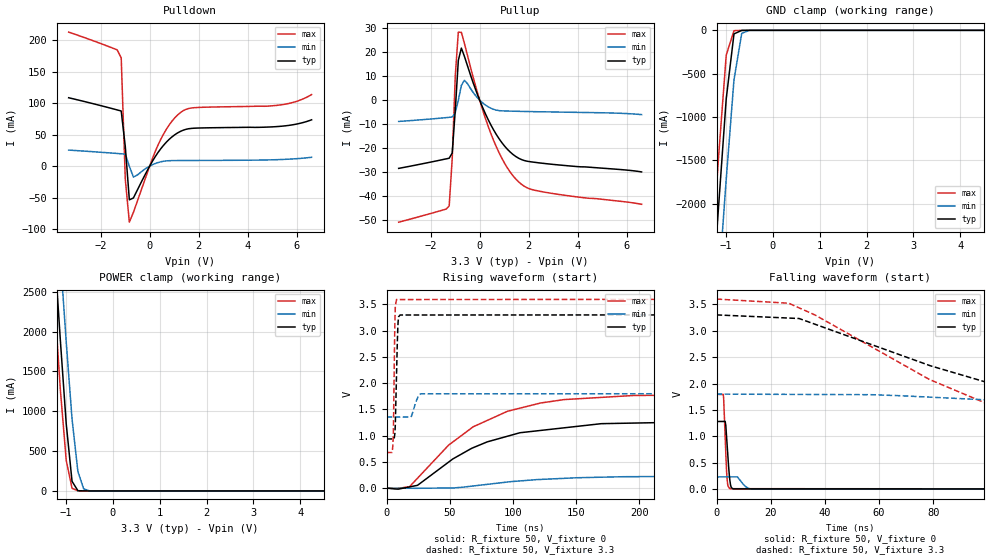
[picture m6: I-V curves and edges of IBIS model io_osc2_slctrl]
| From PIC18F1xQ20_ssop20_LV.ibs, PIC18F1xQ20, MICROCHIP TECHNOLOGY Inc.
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[Model] io_osc2_slctrl
Model_type I/O
Vinl  =  0.8
Vinh  =  2
| Capacitance   typ   min   max
C_comp   3.087383502547799e-12   3.082834744838809e-12   3.237447254935692e-12
[Model Spec]
| Subparameter   typ   min   max
Vinl   1.5   0.81   1.65
Vinh   3.6   1.89   3.85
Vmeas   2.5   1.35   2.75
| Variables   typ   min   max
[GND Clamp Reference]   0   0   0
[POWER Clamp Reference]   3.3   1.8   3.6
[Pulldown Reference]   0   0   0
[Pullup Reference]   3.3   1.8   3.6
[Temperature Range]   25   125   -40
[Voltage Range]   3.3   1.8   3.6
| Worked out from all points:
|   slope of the pulldown table from 0 to 0.495 V, typ, clamps not added: 16.7 ohm
|   slope of the pullup table from 0 to 0.495 V, typ, clamps not added: 44.8 ohm
|   GND clamp passes 1 mA (typ) near -0.66 V on its own axis
|   POWER clamp passes 1 mA (typ) near -0.65 V on its own axis
|   falling waveform, R_fixture 50, V_fixture 0: 20-80 % time 1.08ns typ, 2.38ns min, 850ps max; typ from 1.28 V to 0 V
|   falling waveform, R_fixture 50, V_fixture 3.3: 20-80 % time 95.5ns typ, 138ns min, 70.2ns max; typ from 3.3 V to 0.94 V
|   rising waveform, R_fixture 50, V_fixture 0: 20-80 % time 65.3ns typ, 69.5ns min, 62ns max; typ from 0 V to 1.28 V
|   rising waveform, R_fixture 50, V_fixture 3.3: 20-80 % time 1.47ns typ, 3.73ns min, 984ps max; typ from 0.936 V to 3.3 V
[GND Clamp]
| Voltage   I(typ)   I(min)   I(max)
-3.3V     -18.75A    -18.89A    -18.72A
-1.324V   -3.34A     -4.181A    -2.808A
-1.159V   -2.049A    -2.949A    -1.475A
-993.1mV  -789mA     -1.717A    -285.7mA
-827.6mV  -41.37mA   -570.8mA   -3.723mA
-662.1mV  -805.7uA   -33.96mA   -569.7uA
-496.6mV  -22.64uA   -517.6uA   -6.357uA
6.6V      0A         0A         0A
[POWER Clamp]
| Voltage   I(typ)   I(min)   I(max)
-3.3V     21.36A     21.68A     21.21A
-1.366V   4.096A     5.059A     3.499A
-1.241V   2.988A     3.993A     2.363A
-1.117V   1.881A     2.926A     1.262A
-993.1mV  841.2mA    1.869A     382.8mA
-869mV    120.4mA    901.8mA    32.88mA
-744.8mV  3.243mA    244.6mA    1.554mA
-620.7mV  376.8uA    25.71mA    440.4uA
-496.6mV  29.19uA    1.106mA    49.61uA
6.6V      0A         0A         0A
[Pulldown]
| Voltage   I(typ)   I(min)   I(max)
-3.3V     108.6mA    25.49mA    212.9mA
-1.324V   89.29mA    20.14mA    184.7mA
-1.159V   87.56mA    19.65mA    172mA
-993.1mV  31.31mA    19.13mA    -20.47mA
-827.6mV  -53.48mA   -119uA     -89.02mA
-662.1mV  -50.56mA   -17.42mA   -73.41mA
341.4mV   21.7mA     5.717mA    33.47mA
796.6mV   42.57mA    8.672mA    65.49mA
1.252V    55.15mA    8.913mA    85mA
1.821V    60.27mA    9.023mA    92.84mA
5.286V    63.12mA    10.42mA    97mA
6.6V      73.6mA     14.04mA    113.7mA
[Pullup]
| Voltage   I(typ)   I(min)   I(max)
-3.3V     -28.48mA   -8.872mA   -50.94mA
-1.241V   -24.24mA   -7.149mA   -44.13mA
-1.117V   -22.04mA   -7.014mA   -24.32mA
-993.1mV  -4.111mA   -5.253mA   10.18mA
-869mV    16.62mA    -22.07uA   28.43mA
-744.8mV  21.75mA    6.17mA     28.29mA
-620.7mV  18.28mA    8.308mA    23.71mA
455.2mV   -10.29mA   -3.355mA   -13.89mA
1.024V    -19.27mA   -4.499mA   -26.48mA
1.593V    -24.26mA   -4.657mA   -34.17mA
2.617V    -26.4mA    -4.86mA    -38.35mA
6.6V      -29.94mA   -6.041mA   -43.47mA
[Ramp]
dV/dt_r   0.768801/65.3164n  0.139526/69.5465n  1.07648/61.954n
dV/dt_f   1.41624/95.528n  0.266586/0.138483u  1.75186/70.1789n
R_load = 50
[Falling Waveform]
R_fixture = 50
V_fixture = 0
V_fixture_min = 0
V_fixture_max = 0
| Time   V(typ)   V(min)   V(max)
0s        1.281V     232.5mV    1.794V
2.562ns   1.282V     232.7mV    1.764V
3.191ns   1.282V     232.7mV    985.7mV
3.858ns   879.5mV    232.8mV    216.8mV
4.177ns   639.5mV    232.8mV    66.4mV
4.87ns    191mV      232.9mV    8.837mV
5.475ns   28.4mV     232.9mV    8.827mV
6.132ns   5.334mV    232.9mV    8.817mV
13.71ns   5.262mV    1.119mV    8.697mV
562.5ns   547nV      777.6nV    429.1nV
[Falling Waveform]
R_fixture = 50
V_fixture = 3.3
V_fixture_min = 1.8
V_fixture_max = 3.6
| Time   V(typ)   V(min)   V(max)
0s        3.3V       1.8V       3.6V
26.66ns   3.24V      1.795V     3.522V
30.49ns   3.232V     1.794V     3.433V
78.63ns   2.343V     1.743V     2.077V
118.7ns   1.738V     1.644V     1.214V
141.9ns   1.466V     1.587V     977.2mV
176.7ns   1.208V     1.512V     847.7mV
232.3ns   1.06V      1.442V     759.6mV
287.8ns   998.6mV    1.403V     746.2mV
562.5ns   939.6mV    1.356V     680.2mV
[Rising Waveform]
R_fixture = 50
V_fixture = 0
V_fixture_min = 0
V_fixture_max = 0
| Time   V(typ)   V(min)   V(max)
0s        -67.84pV   6.562nV    -77.82pV
18.1ns    22.93mV    -2.455mV   24.79mV
24.54ns   53.84mV    -3.083mV   189.7mV
49.08ns   495.3mV    3.26mV     818.3mV
68.56ns   770.3mV    41.04mV    1.168V
95.76ns   989.1mV    116.6mV    1.464V
140.5ns   1.149V     186.5mV    1.686V
169.9ns   1.227V     208.1mV    1.728V
281ns     1.277V     229.2mV    1.772V
562.5ns   1.281V     232.5mV    1.794V
[Rising Waveform]
R_fixture = 50
V_fixture = 3.3
V_fixture_min = 1.8
V_fixture_max = 3.6
| Time   V(typ)   V(min)   V(max)
0s        936.3mV    1.353V     678.2mV
4.984ns   937mV      1.353V     797.1mV
5.495ns   937.1mV    1.353V     1.203V
6.591ns   1.04V      1.353V     3.132V
7.875ns   2.125V     1.353V     3.591V
9.16ns    3.167V     1.353V     3.591V
10.65ns   3.296V     1.353V     3.591V
19.1ns    3.297V     1.353V     3.591V
27.35ns   3.297V     1.796V     3.591V
562.5ns   3.3V       1.8V       3.6V
